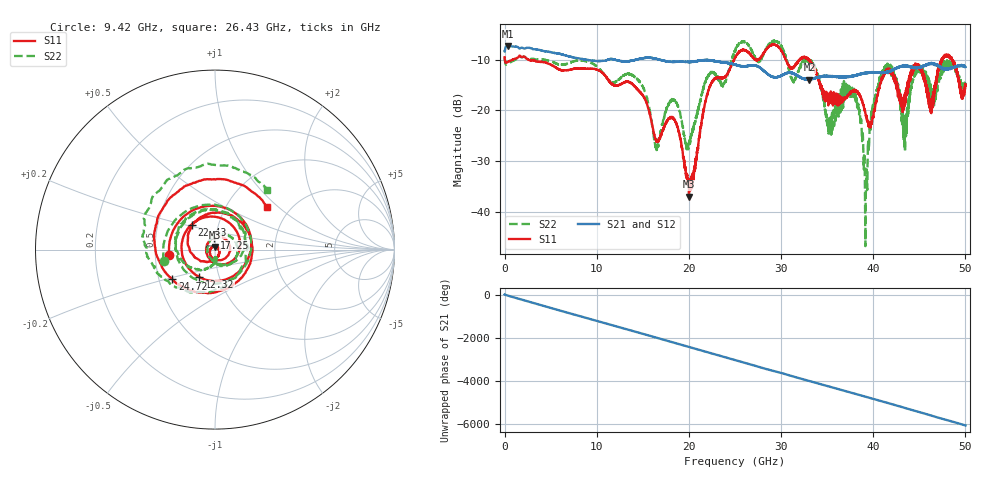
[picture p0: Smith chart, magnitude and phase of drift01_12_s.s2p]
!Created with skrf (http://scikit-rf.org).
# Hz S RI R 50.0
!freq ReS11 ImS11 ReS21 ImS21 ReS12 ImS12 ReS22 ImS22
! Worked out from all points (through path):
!   10001 points, 300 kHz to 50 GHz, reference 50 ohm
!   highest |S21| = -7.33 dB at 325.3 MHz (marker M1); lowest = -14.0 dB at 33.08 GHz (marker M2)
!   group delay of S21, straight-line fit = 335 ps
!   lowest |S11| = -37.0 dB at 20.01 GHz (marker M3), VSWR 1.03, Z = 49.9 + j1.41 ohm
!   |S11| at or under -10 dB: 2.555 GHz to 24.92 GHz (22.36 GHz wide, 163 % of centre); 30.51 GHz to 32.02 GHz (1.511 GHz wide, 4.83 % of centre); 33.06 GHz to 47.42 GHz (14.36 GHz wide, 35.7 % of centre) (the widest 3 of 22)
!   |S22| runs from -46.7 to -6.2 dB; largest |S21 - S12| = 0.0077
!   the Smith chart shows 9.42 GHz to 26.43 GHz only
!   S11 on the Smith chart (normalised r, x): 9.42 GHz: 0.59, -0.04; 12.32 GHz: 0.80, -0.25; 17.25 GHz: 0.98, +0.13; 22.43 GHz: 0.75, +0.21; 24.72 GHz: 0.59, -0.21; 26.43 GHz: 1.55, +0.83
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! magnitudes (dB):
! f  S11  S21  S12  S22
! 300 kHz  -9.6  -8.4  -8.5  -9.5
! 325.3 MHz  -10.5  -7.3  -7.3  -10.9
! 8.335 GHz  -11.8  -9.9  -9.9  -10.2
! 9.42 GHz  -11.8  -10.2  -10.2  -10.7
! 12.32 GHz  -15.1  -10.2  -10.2  -14.1
! 16.67 GHz  -26.1  -10.0  -10.0  -27.1
! 17.25 GHz  -23.5  -10.2  -10.2  -21.6
! 20.01 GHz  -37.0  -10.5  -10.5  -26.7
! 22.43 GHz  -14.6  -10.2  -10.2  -12.6
! 24.72 GHz  -10.8  -10.9  -10.9  -9.6
! 25 GHz  -9.6  -11.0  -11.0  -8.3
! 26.43 GHz  -8.6  -11.3  -11.2  -7.0
! 33.08 GHz  -10.3  -14.0  -13.8  -10.4
! 33.34 GHz  -10.8  -13.8  -13.8  -10.7
! 35.23 GHz  -17.0  -13.3  -13.3  -22.6
! 37.96 GHz  -16.1  -13.2  -13.1  -17.4
! 39.17 GHz  -20.6  -12.6  -12.6  -41.6
! 40.16 GHz  -19.9  -12.5  -12.5  -17.6
! 41.67 GHz  -12.2  -12.3  -12.3  -11.5
! 43.37 GHz  -19.0  -11.1  -11.3  -23.5
! 44.89 GHz  -11.5  -11.6  -11.6  -11.4
! 50 GHz  -15.2  -11.5  -11.3  -14.9
